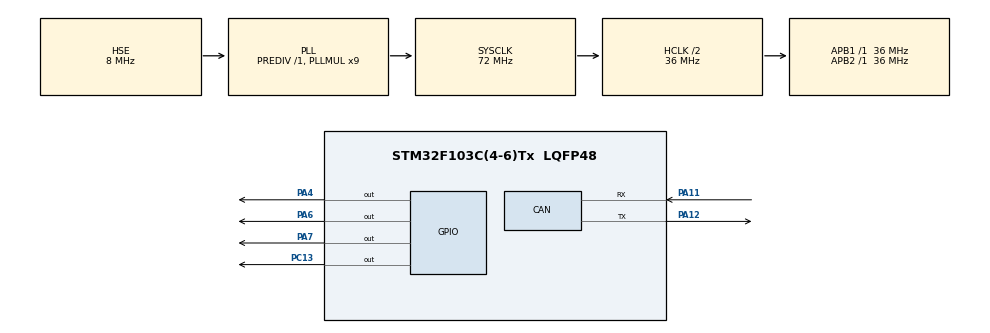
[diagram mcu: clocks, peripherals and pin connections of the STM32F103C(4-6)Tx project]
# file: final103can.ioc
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CAN.BS1=CAN_BS1_1TQ
CAN.BS2=CAN_BS2_1TQ
CAN.CalculateTimeBit=1333
CAN.CalculateTimeQuantum=444.44444444444446
Mcu.Family=STM32F1
Mcu.Name=STM32F103C(4-6)Tx
Mcu.Package=LQFP48
NVIC.PriorityGroup=NVIC_PRIORITYGROUP_4
NVIC.USB_LP_CAN1_RX0_IRQn=true\:0\:0\:false\:false\:true\:true\:true
PA11.Mode=Master
PA11.Signal=CAN_RX
PA12.Mode=Master
PA12.Signal=CAN_TX
PA13.Mode=Serial_Wire
PA13.Signal=SYS_JTMS-SWDIO
PA14.Mode=Serial_Wire
PA14.Signal=SYS_JTCK-SWCLK
PA4.GPIO_Speed=GPIO_SPEED_FREQ_HIGH
PA4.PinState=GPIO_PIN_SET
PA4.Signal=GPIO_Output
PA6.GPIO_Speed=GPIO_SPEED_FREQ_HIGH
PA6.Signal=GPIO_Output
PA7.GPIO_Speed=GPIO_SPEED_FREQ_HIGH
PA7.Signal=GPIO_Output
PC13-TAMPER-RTC.GPIO_Speed=GPIO_SPEED_FREQ_HIGH
PC13-TAMPER-RTC.Signal=GPIO_Output
PC14-OSC32_IN.Mode=LSE-External-Oscillator
PC14-OSC32_IN.Signal=RCC_OSC32_IN
PC15-OSC32_OUT.Mode=LSE-External-Oscillator
PC15-OSC32_OUT.Signal=RCC_OSC32_OUT
PD0-OSC_IN.Mode=HSE-External-Oscillator
PD0-OSC_IN.Signal=RCC_OSC_IN
PD1-OSC_OUT.Mode=HSE-External-Oscillator
PD1-OSC_OUT.Signal=RCC_OSC_OUT
ProjectManager.HeapSize=0x200
ProjectManager.StackSize=0x400
ProjectManager.TargetToolchain=MDK-ARM V5.27
RCC.AHBCLKDivider=RCC_SYSCLK_DIV2
RCC.AHBFreq_Value=36000000
RCC.APB1Freq_Value=36000000
RCC.APB1TimFreq_Value=36000000
RCC.APB2Freq_Value=36000000
RCC.APB2TimFreq_Value=36000000
RCC.HCLKFreq_Value=36000000
RCC.PLLMUL=RCC_PLL_MUL9
RCC.PLLSourceVirtual=RCC_PLLSOURCE_HSE
RCC.SYSCLKFreq_VALUE=72000000
RCC.SYSCLKSource=RCC_SYSCLKSOURCE_PLLCLK
RCC.USBFreq_Value=72000000
board=custom

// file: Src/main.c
/* USER CODE BEGIN Header */
/**
  ******************************************************************************
  * @file           : main.c
  * @brief          : Main program body
  ******************************************************************************
  * @attention
  *
  * <h2><center>&copy; Copyright (c) 2021 STMicroelectronics.
  * All rights reserved.</center></h2>
  *
  * This software component is licensed by ST under BSD 3-Clause license,
  * the "License"; You may not use this file except in compliance with the
  * License. You may obtain a copy of the License at:
  *                        opensource.org/licenses/BSD-3-Clause
  *
  ******************************************************************************
  */
/* USER CODE END Header */

#include "main.h"

/* USER CODE BEGIN Includes */
#include "stdio.h"
#include "stdlib.h"
/* USER CODE END Includes */

CAN_HandleTypeDef hcan1;

/* USER CODE BEGIN PV */
CAN_TxHeaderTypeDef		TxHeader;
CAN_RxHeaderTypeDef 	RxHeader;
uint8_t								TxData[8];
uint8_t								RxData[8];
uint32_t							TxMailbox;
uint16_t value=0;
/* USER CODE END PV */

void SystemClock_Config(void);
static void MX_GPIO_Init(void);
static void MX_CAN_Init(void);

/* USER CODE BEGIN 0 */
static void MX_CAN1_UserInit(void);
void CanWriteData(uint16_t ID);
/* USER CODE END 0 */

int main(void)
{

  /* MCU Configuration--------------------------------------------------------*/

  /* Reset of all peripherals, Initializes the Flash interface and the Systick. */
  HAL_Init();

  /* Configure the system clock */
  SystemClock_Config();

  /* Initialize all configured peripherals */
  MX_GPIO_Init();
  MX_CAN_Init();

  /* Infinite loop */
  /* USER CODE BEGIN WHILE */

	MX_CAN1_UserInit();

		// CAN start
	if (HAL_CAN_Start(&hcan1) != HAL_OK)
	{
		/* Start Error */
		Error_Handler();
		//HAL_GPIO_WritePin(LD2_GPIO_Port, LD2_Pin, GPIO_PIN_RESET);
	} //else {
		//HAL_GPIO_WritePin(LD2_GPIO_Port, LD2_Pin, GPIO_PIN_SET);
	//}

	// CAN notifications (interrupts)
	if (HAL_CAN_ActivateNotification(&hcan1, CAN_IT_RX_FIFO0_MSG_PENDING | CAN_IT_TX_MAILBOX_EMPTY) != HAL_OK)
	{
		/* Notification Error */
		Error_Handler();
		//HAL_GPIO_WritePin(LD2_GPIO_Port, LD2_Pin, GPIO_PIN_RESET);
	} //else {
		//HAL_GPIO_WritePin(LD2_GPIO_Port, LD2_Pin, GPIO_PIN_SET);
	//}

	/* CAN TX messager */
//	TxHeader.StdId = 0x244;
//	TxHeader.ExtId = 0x00;
//	TxHeader.RTR = CAN_RTR_DATA;
//	TxHeader.IDE = CAN_ID_STD;
//	TxHeader.DLC = 8;
//	TxHeader.TransmitGlobalTime = DISABLE;
//	TxData[0] = 1;
//	TxData[1] = 2;
//	TxData[2] = 3;
//	TxData[3] = 4;
//	TxData[4] = 5;
//	TxData[5] = 6;
//	TxData[6] = 7;
//	TxData[7] = 8;
  /* USER CODE END 2 */

  /* Infinite loop */
  /* USER CODE BEGIN WHILE */
	//HAL_ADC_Start_IT(&hadc1);
  HAL_CAN_Start(&hcan1);
  HAL_CAN_ActivateNotification(&hcan1,CAN_IT_RX_FIFO0_MSG_PENDING);
  while (1)
  {
    /* USER CODE END WHILE */

  }
}

void SystemClock_Config(void)
{
  RCC_OscInitTypeDef RCC_OscInitStruct = {0};
  RCC_ClkInitTypeDef RCC_ClkInitStruct = {0};

  /** Initializes the CPU, AHB and APB busses clocks
  */
  RCC_OscInitStruct.OscillatorType = RCC_OSCILLATORTYPE_HSE;
  RCC_OscInitStruct.HSEState = RCC_HSE_ON;
  RCC_OscInitStruct.HSEPredivValue = RCC_HSE_PREDIV_DIV1;
  RCC_OscInitStruct.HSIState = RCC_HSI_ON;
  RCC_OscInitStruct.PLL.PLLState = RCC_PLL_ON;
  RCC_OscInitStruct.PLL.PLLSource = RCC_PLLSOURCE_HSE;
  RCC_OscInitStruct.PLL.PLLMUL = RCC_PLL_MUL9;
  if (HAL_RCC_OscConfig(&RCC_OscInitStruct) != HAL_OK)
  {
    Error_Handler();
  }
  /** Initializes the CPU, AHB and APB busses clocks
  */
  RCC_ClkInitStruct.ClockType = RCC_CLOCKTYPE_HCLK|RCC_CLOCKTYPE_SYSCLK
                              |RCC_CLOCKTYPE_PCLK1|RCC_CLOCKTYPE_PCLK2;
  RCC_ClkInitStruct.SYSCLKSource = RCC_SYSCLKSOURCE_PLLCLK;
  RCC_ClkInitStruct.AHBCLKDivider = RCC_SYSCLK_DIV2;
  RCC_ClkInitStruct.APB1CLKDivider = RCC_HCLK_DIV1;
  RCC_ClkInitStruct.APB2CLKDivider = RCC_HCLK_DIV1;

  if (HAL_RCC_ClockConfig(&RCC_ClkInitStruct, FLASH_LATENCY_2) != HAL_OK)
  {
    Error_Handler();
  }
}

static void MX_CAN_Init(void)
{

  hcan1.Instance = CAN1;
  hcan1.Init.Prescaler = 10;
  hcan1.Init.Mode = CAN_MODE_NORMAL;
  hcan1.Init.SyncJumpWidth = CAN_SJW_1TQ;
  hcan1.Init.TimeSeg1 = CAN_BS1_13TQ;
  hcan1.Init.TimeSeg2 = CAN_BS2_2TQ;
  hcan1.Init.TimeTriggeredMode = DISABLE;
  hcan1.Init.AutoBusOff = DISABLE;
  hcan1.Init.AutoWakeUp = DISABLE;
  hcan1.Init.AutoRetransmission = DISABLE;
  hcan1.Init.ReceiveFifoLocked = DISABLE;
  hcan1.Init.TransmitFifoPriority = DISABLE;
  if (HAL_CAN_Init(&hcan1) != HAL_OK)
  {
    Error_Handler();
  }

}

static void MX_GPIO_Init(void)
{
  GPIO_InitTypeDef GPIO_InitStruct = {0};

  /* GPIO Ports Clock Enable */
  __HAL_RCC_GPIOC_CLK_ENABLE();
  __HAL_RCC_GPIOD_CLK_ENABLE();
  __HAL_RCC_GPIOA_CLK_ENABLE();

  /*Configure GPIO pin Output Level */
  HAL_GPIO_WritePin(GPIOC, GPIO_PIN_13, GPIO_PIN_RESET);

  /*Configure GPIO pin Output Level */
  HAL_GPIO_WritePin(GPIOA, GPIO_PIN_4, GPIO_PIN_SET);

  /*Configure GPIO pin Output Level */
  HAL_GPIO_WritePin(GPIOA, GPIO_PIN_6|GPIO_PIN_7, GPIO_PIN_RESET);

  /*Configure GPIO pin : PC13 */
  GPIO_InitStruct.Pin = GPIO_PIN_13;
  GPIO_InitStruct.Mode = GPIO_MODE_OUTPUT_PP;
  GPIO_InitStruct.Pull = GPIO_NOPULL;
  GPIO_InitStruct.Speed = GPIO_SPEED_FREQ_HIGH;
  HAL_GPIO_Init(GPIOC, &GPIO_InitStruct);

  /*Configure GPIO pins : PA4 PA6 PA7 */
  GPIO_InitStruct.Pin = GPIO_PIN_4|GPIO_PIN_6|GPIO_PIN_7;
  GPIO_InitStruct.Mode = GPIO_MODE_OUTPUT_PP;
  GPIO_InitStruct.Pull = GPIO_NOPULL;
  GPIO_InitStruct.Speed = GPIO_SPEED_FREQ_HIGH;
  HAL_GPIO_Init(GPIOA, &GPIO_InitStruct);

}

/* USER CODE BEGIN 4 */

void CanWriteData(uint16_t ID)
{
	int i=0;
	for(i=0 ; i<8 ; i++)
	{
		TxData[i]= rand()%0xff;
	}

  /* transmit */

	TxHeader.StdId = ID;				// CAN message address
	//TxHeader.ExtId = 0x00;			 	// Only used if (TxHeader.IDE == CAN_ID_EXT)
	TxHeader.RTR = CAN_RTR_DATA;	// Data request, not remote request
	TxHeader.IDE = CAN_ID_STD;		// Standard CAN, not Extended
	TxHeader.DLC = 8;							// Data size in bytes
	TxHeader.TransmitGlobalTime = DISABLE;

		HAL_CAN_AddTxMessage(&hcan1, &TxHeader, TxData, &TxMailbox);

		//TxData[7] = TxData[7] + 1;

}

static void MX_CAN1_UserInit(void)
{
	CAN_FilterTypeDef			sFilterConfig;

	// CAN filter structure items configuration
	sFilterConfig.FilterBank = 0;		// Use first filter bank
	sFilterConfig.FilterMode = CAN_FILTERMODE_IDMASK;		// Look for specific can messages
	sFilterConfig.FilterScale = CAN_FILTERSCALE_32BIT;
	sFilterConfig.FilterIdHigh = 0x00;		 	// Filter registers need to be shifted left 5 bits
	sFilterConfig.FilterIdLow = 0x0000;				// Filter registers need to be shifted left 5 bits
	sFilterConfig.FilterMaskIdHigh = 0x0000;	// Unused
	sFilterConfig.FilterMaskIdLow = 0x0000;		// Unused
	sFilterConfig.FilterFIFOAssignment = CAN_RX_FIFO0;
	sFilterConfig.FilterActivation = ENABLE;
	sFilterConfig.SlaveStartFilterBank = 0;		// Set all filter banks for CAN1

	// CAN filter configuration function call
	if (HAL_CAN_ConfigFilter(&hcan1, &sFilterConfig) != HAL_OK)
	{
		/* Filter Configuration Error */
		Error_Handler();
	}
}

// CAN Tx Callback
void HAL_CAN_TxMailbox0CompleteCallback(CAN_HandleTypeDef *hcan) {

//IR
if(TxHeader.StdId==0x00)
		{
			HAL_GPIO_TogglePin(GPIOA, GPIO_PIN_6|GPIO_PIN_7);
		}

//if(TxHeader.StdId==0x51) //nut #
//		{
//			HAL_GPIO_WritePin(GPIOA, GPIO_PIN_6|GPIO_PIN_7, 1);
//			HAL_GPIO_WritePin(GPIOA, GPIO_PIN_4, 0);
//		}
//
}

// CAN Rx Callback
void HAL_CAN_RxFifo0MsgPendingCallback(CAN_HandleTypeDef *hcan) {
	HAL_CAN_GetRxMessage(&hcan1, CAN_RX_FIFO0, &RxHeader, RxData);

	if(RxHeader.StdId==0x10) //nut *
		{
			HAL_GPIO_WritePin(GPIOA, GPIO_PIN_6, 1);
			HAL_GPIO_WritePin(GPIOA, GPIO_PIN_7, 1);
		}
		if(RxHeader.StdId==0x11) //nut #
		{
			HAL_GPIO_WritePin(GPIOA, GPIO_PIN_6, 0);
			HAL_GPIO_WritePin(GPIOA, GPIO_PIN_7, 0);
		}
		if(RxHeader.StdId==0x01)
				{
					HAL_GPIO_WritePin(GPIOA, GPIO_PIN_6, 1);
					HAL_GPIO_WritePin(GPIOA, GPIO_PIN_7, 1);
				}
		if(RxHeader.StdId==0x02)
				{
					HAL_GPIO_WritePin(GPIOA, GPIO_PIN_6, 0);
					HAL_GPIO_WritePin(GPIOA, GPIO_PIN_7, 0);
				}
		if(RxHeader.StdId==0x03)
				{
					HAL_GPIO_WritePin(GPIOA, GPIO_PIN_6, 1);
				}
if(RxHeader.StdId==0x04)
		{
			HAL_GPIO_WritePin(GPIOA, GPIO_PIN_6, 0);
		}
if(RxHeader.StdId==0x05)
		{
			HAL_GPIO_WritePin(GPIOA, GPIO_PIN_7, 1);
		}
if(RxHeader.StdId==0x06)
		{
			HAL_GPIO_WritePin(GPIOA, GPIO_PIN_7, 0);
		}

//IR
if(RxHeader.StdId==0x00)
		{
			HAL_GPIO_TogglePin(GPIOA, GPIO_PIN_6|GPIO_PIN_7);
		}
//mq2 446
		if(RxHeader.StdId==0x50)
		{
			HAL_GPIO_WritePin(GPIOA, GPIO_PIN_6|GPIO_PIN_7, 1);
			HAL_GPIO_WritePin(GPIOA, GPIO_PIN_4, 0);
		}
//tat coi      nut 0
		if(RxHeader.StdId==0x100)
		{
			HAL_GPIO_WritePin(GPIOA, GPIO_PIN_6|GPIO_PIN_7, 0);
			HAL_GPIO_WritePin(GPIOA, GPIO_PIN_4, 1);

		}
//mq2 476
		if(RxHeader.StdId==0x476)
		{
			HAL_GPIO_WritePin(GPIOA, GPIO_PIN_6|GPIO_PIN_7, 1);
			HAL_GPIO_WritePin(GPIOA, GPIO_PIN_4, 0);
		}

}

/* USER CODE END 4 */

void Error_Handler(void)
{
}

/************************ (C) COPYRIGHT STMicroelectronics *****END OF FILE****/
